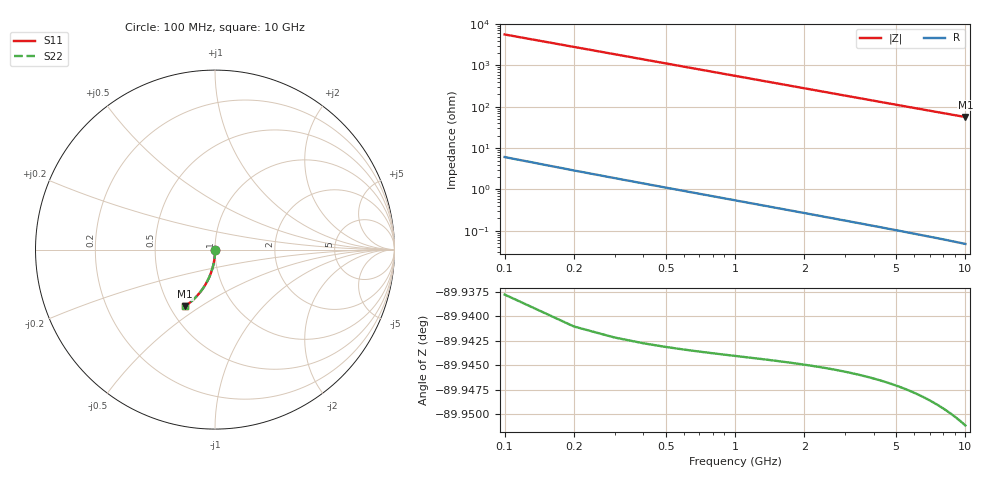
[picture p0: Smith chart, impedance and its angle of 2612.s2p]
# Hz S RI R 50.00
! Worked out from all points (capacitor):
!   100 points, 100 MHz to 10 GHz, reference 50 ohm
!   read as one part in shunt: C = 284 fF near 100 MHz
!   lowest |Z| = 56.5 ohm at 10 GHz (marker M1)
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1e8  0.000276 -0.00386  0.9997 -0.00506  0.9997 -0.00506  0.000276 -0.00386
2e8  0.000216 -0.00773  0.9996 -0.0101  0.9996 -0.0101  0.000216 -0.00773
3e8  0.000115 -0.0116  0.9995 -0.0152  0.9995 -0.0152  0.000115 -0.0116
4e8  -2.5e-05 -0.0154  0.9994 -0.0202  0.9994 -0.0202  -2.5e-05 -0.0154
5e8  -0.000204 -0.0193  0.9992 -0.0253  0.9992 -0.0253  -0.000204 -0.0193
6e8  -0.000422 -0.0232  0.9989 -0.0303  0.9989 -0.0303  -0.000422 -0.0232
7e8  -0.00068 -0.027  0.9987 -0.0354  0.9987 -0.0354  -0.00068 -0.027
8e8  -0.000976 -0.0309  0.9984 -0.0404  0.9984 -0.0404  -0.000976 -0.0309
9e8  -0.00131 -0.0347  0.998 -0.0455  0.998 -0.0455  -0.00131 -0.0347
1.1e9  -0.0021 -0.0424  0.9972 -0.0556  0.9972 -0.0556  -0.0021 -0.0424
1.4e9  -0.00357 -0.0539  0.9957 -0.0706  0.9957 -0.0706  -0.00357 -0.0539
1.8e9  -0.00607 -0.0691  0.9931 -0.0906  0.9931 -0.0906  -0.00607 -0.0691
2.1e9  -0.00834 -0.0804  0.9907 -0.1056  0.9907 -0.1056  -0.00834 -0.0804
2.5e9  -0.0119 -0.0954  0.987 -0.1253  0.987 -0.1253  -0.0119 -0.0954
2.9e9  -0.016 -0.1101  0.9827 -0.1449  0.9827 -0.1449  -0.016 -0.1101
3.4e9  -0.022 -0.1283  0.9765 -0.1691  0.9765 -0.1691  -0.022 -0.1283
4.2e9  -0.0334 -0.1565  0.9647 -0.2069  0.9647 -0.2069  -0.0334 -0.1565
5.1e9  -0.0487 -0.1868  0.9487 -0.2481  0.9487 -0.2481  -0.0487 -0.1868
5.9e9  -0.0644 -0.2122  0.9324 -0.2832  0.9324 -0.2832  -0.0644 -0.2122
6.7e9  -0.0817 -0.2361  0.9143 -0.3168  0.9143 -0.3168  -0.0817 -0.2361
8.4e9  -0.1235 -0.281  0.8707 -0.3826  0.8707 -0.3826  -0.1235 -0.281
1e10  -0.1673 -0.3157  0.8246 -0.437  0.8246 -0.437  -0.1673 -0.3157
